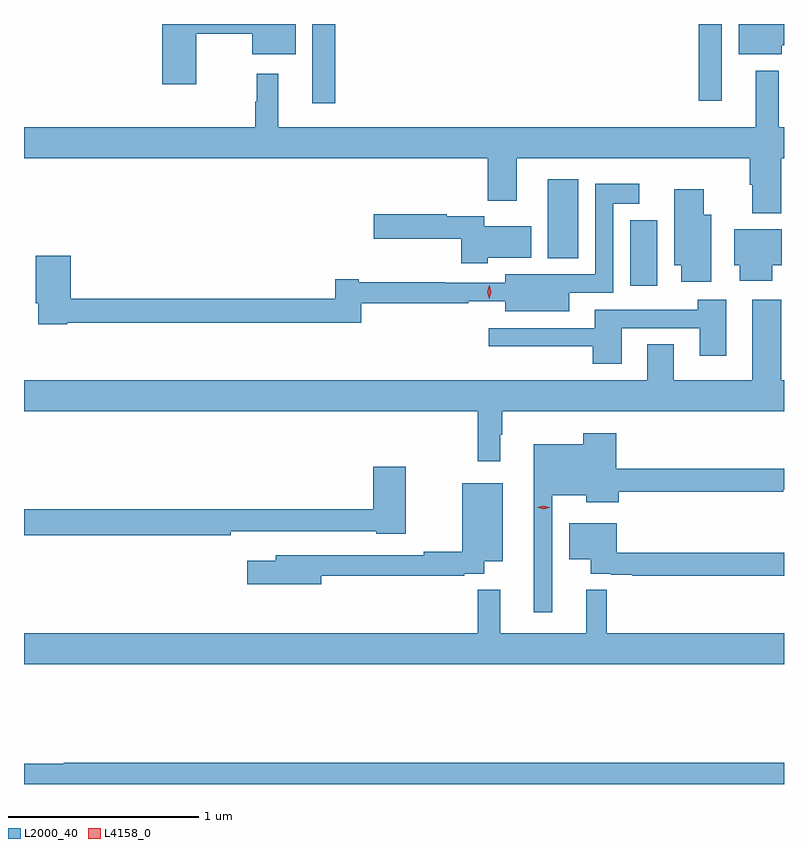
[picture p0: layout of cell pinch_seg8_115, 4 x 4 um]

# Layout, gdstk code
import gdstk
lib = gdstk.Library(unit=1e-6, precision=1e-09)
def R(c, l, rs):  # rectangles x0, y0, x1, y1
    for r in rs: c.add(gdstk.rectangle(r[:2], r[2:], *l))
def P(c, l, *ps):  # polygons
    for p in ps: c.add(gdstk.Polygon(p, *l))
L2000_40 = (2000, 40)
L4158_0 = (4158, 0)

pinch_seg8_115 = lib.new_cell('pinch_seg8_115')
R(pinch_seg8_115, L2000_40, [(1055.573,1093.185,1055.716,1093.531), (1055.138,1093.331,1055.299,1093.747), (1053.899,1094.145,1054.021,1094.563), (1055.934,1094.16,1056.055,1094.563)])
P(pinch_seg8_115, L2000_40, [(1056.37,1094.452),(1056.382,1094.452),(1056.382,1094.563),(1056.143,1094.563),(1056.143,1094.405),(1056.37,1094.405)],
  [(1053.288,1094.512),(1053.584,1094.512),(1053.584,1094.405),(1053.811,1094.405),(1053.811,1094.563),(1053.11,1094.563),(1053.11,1094.247),(1053.288,1094.247)],
  [(1054.823,1093.632),(1054.975,1093.632),(1054.975,1093.856),(1056.203,1093.856),(1056.203,1093.718),(1056.215,1093.718),(1056.215,1093.568),(1056.368,1093.568),(1056.368,1093.856),(1056.382,1093.856),(1056.382,1094.02),(1056.355,1094.02),(1056.355,1094.317),(1056.233,1094.317),(1056.233,1094.02),(1053.721,1094.02),(1053.721,1094.302),(1053.607,1094.302),(1053.607,1094.153),(1053.6,1094.153),(1053.6,1094.02),(1052.382,1094.02),(1052.382,1093.856),(1054.823,1093.856)],
  [(1052.61,1092.99),(1054.157,1092.99),(1054.157,1093.092),(1054.72,1093.092),(1054.72,1093.103),(1054.916,1093.103),(1054.916,1093.052),(1055.251,1093.052),(1055.251,1093.149),(1055.484,1093.149),(1055.484,1093.616),(1055.62,1093.616),(1055.62,1093.723),(1055.388,1093.723),(1055.388,1093.245),(1055.142,1093.245),(1055.142,1093.246),(1054.916,1093.246),(1054.916,1093.2),(1054.598,1093.2),(1054.598,1093.203),(1054.144,1093.203),(1054.144,1093.22),(1054.021,1093.22),(1054.021,1093.118),(1052.627,1093.118),(1052.627,1093.342),(1052.444,1093.342),(1052.444,1093.093),(1052.456,1093.093),(1052.456,1092.982),(1052.61,1092.982)],
  [(1055.998,1093.558),(1055.959,1093.558),(1055.959,1093.693),(1055.804,1093.693),(1055.804,1093.292),(1055.84,1093.292),(1055.84,1093.206),(1055.998,1093.206)],
  [(1054.824,1093.334),(1055.053,1093.334),(1055.053,1093.498),(1054.804,1093.498),(1054.804,1093.551),(1054.608,1093.551),(1054.608,1093.563),(1054.224,1093.563),(1054.224,1093.433),(1054.682,1093.433),(1054.682,1093.304),(1054.824,1093.304)],
  [(1056.32,1093.292),(1056.37,1093.292),(1056.37,1093.483),(1056.119,1093.483),(1056.119,1093.292),(1056.149,1093.292),(1056.149,1093.211),(1056.32,1093.211)],
  [(1054.888,1092.401),(1054.9,1092.401),(1054.9,1092.524),(1056.382,1092.524),(1056.382,1092.688),(1056.368,1092.688),(1056.368,1093.111),(1056.215,1093.111),(1056.215,1092.688),(1055.803,1092.688),(1055.803,1092.878),(1055.663,1092.878),(1055.663,1092.688),(1052.382,1092.688),(1052.382,1092.524),(1054.771,1092.524),(1054.771,1092.261),(1054.888,1092.261)],
  [(1055.527,1092.963),(1055.939,1092.963),(1055.939,1092.816),(1056.079,1092.816),(1056.079,1093.111),(1055.927,1093.111),(1055.927,1093.059),(1055.387,1093.059),(1055.387,1092.963),(1054.827,1092.963),(1054.827,1092.866),(1055.375,1092.866),(1055.375,1092.774),(1055.527,1092.774)],
  [(1055.163,1092.083),(1055.342,1092.083),(1055.342,1092.047),(1055.513,1092.047),(1055.513,1092.102),(1056.378,1092.102),(1056.378,1092.113),(1056.382,1092.113),(1056.382,1092.223),(1055.5,1092.223),(1055.5,1092.409),(1055.325,1092.409),(1055.325,1092.352),(1055.066,1092.352),(1055.066,1091.466),(1055.163,1091.466)],
  [(1053.47,1091.892),(1054.236,1091.892),(1054.236,1091.879),(1054.39,1091.879),(1054.39,1092.232),(1054.22,1092.232),(1054.22,1092.008),(1052.382,1092.008),(1052.382,1091.872),(1053.47,1091.872)],
  [(1053.946,1091.658),(1054.7,1091.658),(1054.7,1091.67),(1054.804,1091.67),(1054.804,1091.735),(1054.903,1091.735),(1054.903,1092.145),(1054.688,1092.145),(1054.688,1091.786),(1054.486,1091.786),(1054.486,1091.766),(1053.707,1091.766),(1053.707,1091.737),(1053.558,1091.737),(1053.558,1091.615),(1053.946,1091.615)],
  [(1056.382,1091.779),(1055.501,1091.779),(1055.501,1091.935),(1055.252,1091.935),(1055.252,1091.747),(1055.366,1091.747),(1055.366,1091.67),(1055.47,1091.67),(1055.47,1091.664),(1055.584,1091.664),(1055.584,1091.658),(1056.382,1091.658)],
  [(1056.382,1091.356),(1055.45,1091.356),(1055.45,1091.585),(1055.342,1091.585),(1055.342,1091.356),(1054.889,1091.356),(1054.889,1091.585),(1054.771,1091.585),(1054.771,1091.356),(1052.382,1091.356),(1052.382,1091.192),(1056.382,1091.192)],
  [(1056.382,1090.676),(1052.591,1090.676),(1052.591,1090.669),(1052.382,1090.669),(1052.382,1090.563),(1056.382,1090.563)])
P(pinch_seg8_115, L4158_0, [(1055.116,1092.008),(1055.082,1092.019),(1055.081,1092.02),(1055.082,1092.02),(1055.117,1092.028),(1055.152,1092.017),(1055.153,1092.017),(1055.152,1092.016)],
  [(1054.83,1093.117),(1054.83,1093.118),(1054.82,1093.153),(1054.83,1093.188),(1054.83,1093.189),(1054.83,1093.188),(1054.84,1093.153),(1054.83,1093.118)])

lib.write_gds('pinch_seg8_115.gds')
